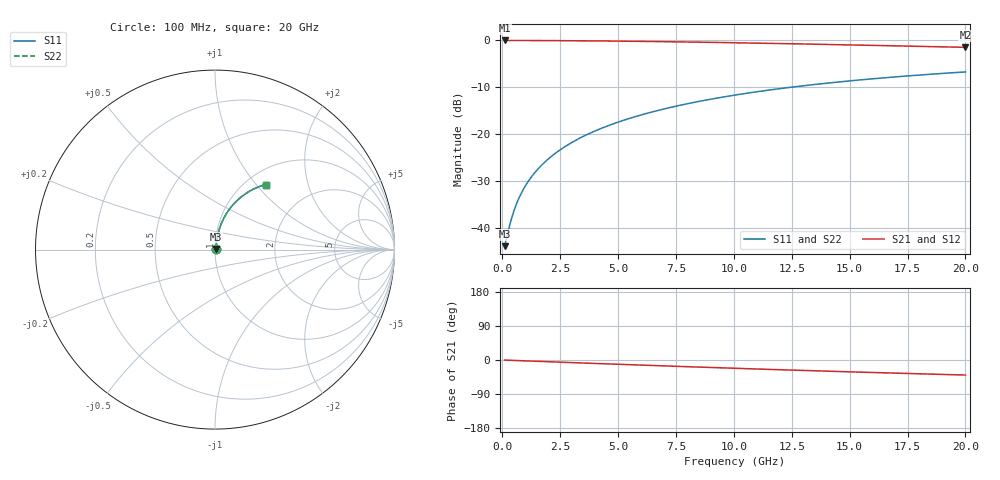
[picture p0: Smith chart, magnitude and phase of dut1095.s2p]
! Touchstone file exported from HFSS 2024.1.0
!  File:  C:/UserFiles/LocalFiles/RDL_TSV_Batchsim/temp_RDL_top_1095_1780046106.aedt
!  Generated:  05:17:21 PM May 29, 2026
!  Design:  RDL_top
!  Project:  temp_RDL_top_1095_1780046106
!  Setup:  Setup1
!  Solution:  Sweep
! Variables:
!  dtsv = 10.80580581um
!  hbump = 3um
!  htsv = 94.31um
!  ldown = 100um
!  lrdl = 515.47um
!  p = 40
!  p1 = 40.93um
!  rhole = 1um
!  t = 450um
!  tdown = 3.915915916um
!  trdl = 3.17um
!  wdown = 15.38538539um
!  wrdl = 10.02um
# GHz S MA R 50.000000
! Terminal data exported
! Port[1] = Box2_T1
! Port[2] = Box2_T2
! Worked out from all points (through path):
!   200 points, 100 MHz to 20 GHz, reference 50 ohm
!   highest |S21| = -0.05 dB at 100 MHz (marker M1); lowest = -1.5 dB at 20 GHz (marker M2)
!   group delay of S21, straight-line fit = 5.52 ps
!   lowest |S11| = -43.9 dB at 100 MHz (marker M3), VSWR 1.01, Z = 50.6 + j0.283 ohm
!   |S11| at or under -10 dB: start of sweep to 12.49 GHz
!   |S22| runs from -43.9 to -6.8 dB; largest |S21 - S12| = 3.4e-15
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0.1  0.006417 25.9  0.9942 -0.2  0.9942 -0.2  0.006417 25.9
! Gamma 0 0 0 0
! Port Impedance 50 0 50 0
0.3  0.01026 54.6  0.9941 -0.7  0.9941 -0.7  0.01026 54.6
0.4  0.01267 61.3  0.994 -0.9  0.994 -0.9  0.01267 61.3
0.5  0.01519 65.7  0.9938 -1.2  0.9938 -1.2  0.01519 65.7
0.6  0.01776 68.8  0.9937 -1.4  0.9937 -1.4  0.01776 68.8
0.7  0.02036 71.0  0.9935 -1.6  0.9935 -1.6  0.02036 71.0
0.9  0.0256 74.0  0.9932 -2.1  0.9932 -2.1  0.0256 74.0
1.2  0.03352 76.6  0.9927 -2.8  0.9927 -2.8  0.03352 76.6
1.4  0.03882 77.6  0.9923 -3.2  0.9923 -3.2  0.03882 77.6
1.7  0.04679 78.6  0.9917 -3.9  0.9917 -3.9  0.04679 78.6
2.2  0.06011 79.3  0.9904 -5.0  0.9904 -5.0  0.06011 79.3
2.8  0.0761 79.4  0.9885 -6.4  0.9885 -6.4  0.0761 79.4
3.5  0.09472 79.0  0.9858 -8.0  0.9858 -8.0  0.09472 79.0
4.2  0.1133 78.3  0.9826 -9.5  0.9826 -9.5  0.1133 78.3
5  0.1343 77.2  0.9783 -11.3  0.9783 -11.3  0.1343 77.2
5.9  0.1577 75.8  0.9728 -13.3  0.9728 -13.3  0.1577 75.8
6.8  0.1808 74.4  0.9666 -15.2  0.9666 -15.2  0.1808 74.4
8.3  0.2184 71.8  0.9551 -18.3  0.9551 -18.3  0.2184 71.8
10.1  0.2619 68.6  0.9396 -22.0  0.9396 -22.0  0.2618 68.6
13.4  0.3359 62.9  0.908 -28.3  0.908 -28.3  0.3359 62.9
16.7  0.402 57.3  0.8741 -34.2  0.8741 -34.2  0.4019 57.3
20  0.4597 52.1  0.8398 -39.7  0.8398 -39.7  0.4597 52.1
